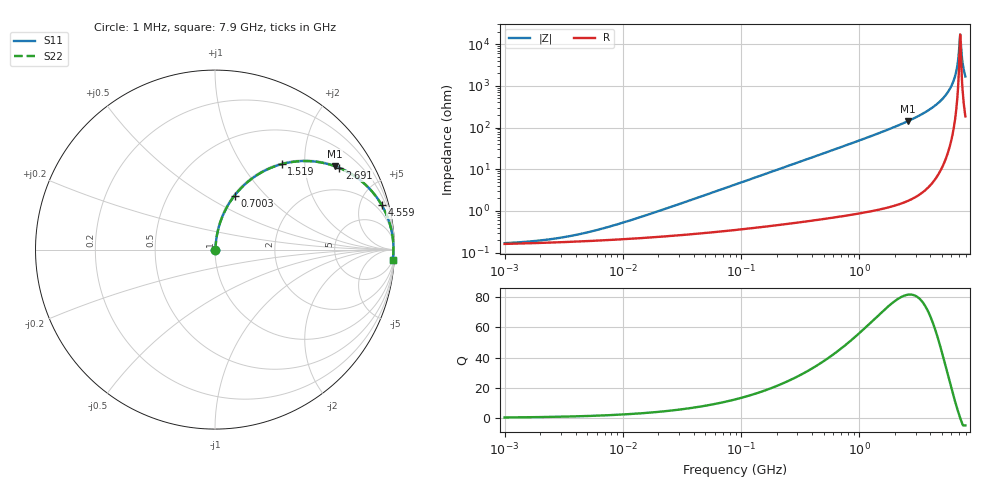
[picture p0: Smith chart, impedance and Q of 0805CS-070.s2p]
# MHz S MA R 50
!Freq  MagS11  AngS11  MagS21  AngS21  MagS12  AngS12  MagS22  AngS22
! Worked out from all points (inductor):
!   801 points, 1 MHz to 7.9 GHz, reference 50 ohm
!   read as one part in series: L = 7.65 nH near 13.96 MHz
!   highest Q = 81.7 at 2.573 GHz (marker M1), where L = 8.79 nH
!   self-resonance near 7.062 GHz
!   S11 on the Smith chart (normalised r, x): 1 MHz: 1.00, +0.00; 700.3 MHz: 1.01, +0.68; 1.519 GHz: 1.02, +1.53; 2.691 GHz: 1.04, +3.02; 4.559 GHz: 1.14, +7.40; 7.9 GHz: 5, -33
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1  0.001689 16.5  0.9984 -0.0  0.9984 -0.0  0.001689 16.5
2.242779  0.002037 31.8  0.9983 -0.1  0.9983 -0.1  0.002037 31.8
4.496272  0.002853 49.0  0.9981 -0.1  0.9981 -0.1  0.002853 49.0
19.99093  0.009878 75.5  0.9976 -0.5  0.9976 -0.5  0.009878 75.5
88.88194  0.04268 82.9  0.9956 -2.4  0.9956 -2.4  0.04268 82.9
399.6374  0.1882 77.4  0.9764 -10.8  0.9764 -10.8  0.1882 77.4
700.2736  0.3197 70.1  0.9406 -18.6  0.9406 -18.6  0.3197 70.1
1037.024  0.4507 62.2  0.8849 -26.8  0.8849 -26.8  0.4507 62.2
1518.582  0.6032 52.1  0.7889 -37.1  0.7889 -37.1  0.6032 52.1
1776.833  0.6688 47.3  0.7345 -42.0  0.7345 -42.0  0.6688 47.3
2572.905  0.8132 34.9  0.5721 -54.4  0.5721 -54.4  0.8132 34.9
2690.988  0.8287 33.3  0.5496 -56.0  0.5496 -56.0  0.8287 33.3
3602.34  0.9141 23.2  0.3934 -66.1  0.3934 -66.1  0.9141 23.2
4559.292  0.961 15.0  0.2596 -73.9  0.2596 -73.9  0.961 15.0
5394.832  0.9819 9.3  0.1624 -79.0  0.1624 -79.0  0.9819 9.3
6103.379  0.9908 5.2  0.09093 -81.6  0.09093 -81.6  0.9908 5.2
6528.336  0.9933 3.0  0.05202 -81.1  0.05202 -81.1  0.9933 3.0
6904.984  0.9942 1.1  0.02003 -72.6  0.02003 -72.6  0.9942 1.1
7061.659  0.9942 0.4  0.00847 -46.9  0.00847 -46.9  0.9942 0.4
7303.362  0.994 -0.8  0.01455 65.1  0.01455 65.1  0.994 -0.8
7638.551  0.993 -2.2  0.03975 78.7  0.03975 78.7  0.993 -2.2
7900  0.9918 -3.4  0.05909 80.3  0.05909 80.3  0.9918 -3.4
